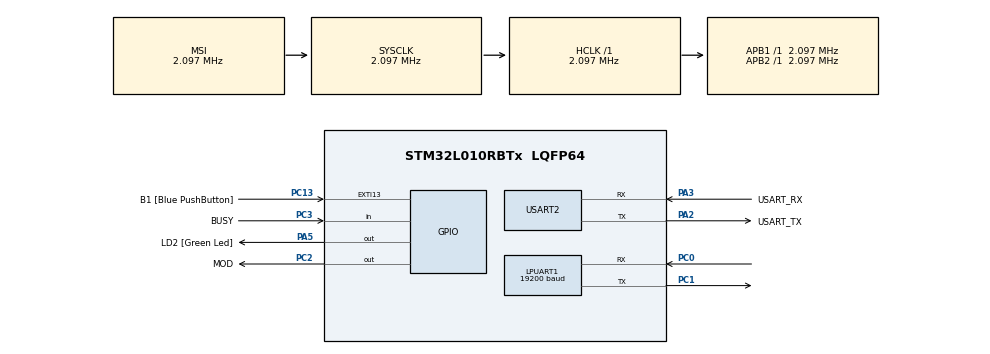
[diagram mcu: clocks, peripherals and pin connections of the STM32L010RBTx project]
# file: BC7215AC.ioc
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LPUART1.BaudRate=19200
LPUART1.StopBits=UART_STOPBITS_2
LPUART1.WordLength=UART_WORDLENGTH_8B
Mcu.Family=STM32L0
Mcu.Name=STM32L010RBTx
Mcu.Package=LQFP64
NVIC.LPUART1_IRQn=true\:0\:0\:false\:false\:true\:true\:true
NVIC.USART2_IRQn=true\:0\:0\:false\:false\:true\:true\:true
PA13.GPIO_Label=TMS
PA13.Mode=Serial_Wire
PA13.Signal=SYS_SWDIO
PA14.GPIO_Label=TCK
PA14.Mode=Serial_Wire
PA14.Signal=SYS_SWCLK
PA2.GPIO_Label=USART_TX
PA2.Mode=Asynchronous
PA2.Signal=USART2_TX
PA3.GPIO_Label=USART_RX
PA3.Mode=Asynchronous
PA3.Signal=USART2_RX
PA5.GPIO_Label=LD2 [Green Led]
PA5.Signal=GPIO_Output
PC0.GPIO_PuPd=GPIO_PULLUP
PC0.Mode=Asynchronous
PC0.Signal=LPUART1_RX
PC1.Mode=Asynchronous
PC1.Signal=LPUART1_TX
PC13.GPIO_Label=B1 [Blue PushButton]
PC13.GPIO_ModeDefaultEXTI=GPIO_MODE_IT_FALLING
PC13.Signal=GPXTI13
PC14-OSC32_IN.Mode=LSE-External-Oscillator
PC14-OSC32_IN.Signal=RCC_OSC32_IN
PC15-OSC32_OUT.Mode=LSE-External-Oscillator
PC15-OSC32_OUT.Signal=RCC_OSC32_OUT
PC2.GPIO_Label=MOD
PC2.Signal=GPIO_Output
PC3.GPIO_Label=BUSY
PC3.Signal=GPIO_Input
PH0-OSC_IN.GPIO_Label=MCO
PH0-OSC_IN.Mode=HSE-External-Clock-Source
PH0-OSC_IN.Signal=RCC_OSC_IN
ProjectManager.HeapSize=0x200
ProjectManager.StackSize=0x400
ProjectManager.TargetToolchain=STM32CubeIDE
RCC.AHBFreq_Value=2097000
RCC.APB1Freq_Value=2097000
RCC.APB1TimFreq_Value=2097000
RCC.APB2Freq_Value=2097000
RCC.APB2TimFreq_Value=2097000
RCC.HSE_VALUE=8000000
RCC.HSI16_VALUE=16000000
RCC.HSI48_VALUE=48000000
RCC.HSI_VALUE=16000000
RCC.MSI_VALUE=2097000
RCC.SYSCLKFreq_VALUE=2097000
RCC.VCOOutputFreq_Value=48000000
USART2.DMADisableonRxErrorParam=ADVFEATURE_DMA_DISABLEONRXERROR
USART2.VirtualMode-Asynchronous=VM_ASYNC
board=NUCLEO-L010RB

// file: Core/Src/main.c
/* USER CODE BEGIN Header */
/**
  ******************************************************************************
  * @file           : main.c
  * @brief          : Main program body
  ******************************************************************************
  * @attention
  *
  * Copyright (c) 2026 STMicroelectronics.
  * All rights reserved.
  *
  * This software is licensed under terms that can be found in the LICENSE file
  * in the root directory of this software component.
  * If no LICENSE file comes with this software, it is provided AS-IS.
  *
  ******************************************************************************
  */
/* USER CODE END Header */
#include "main.h"

/* USER CODE BEGIN Includes */
#include "app_main.h"
#include <stdio.h>

/* USER CODE END Includes */

UART_HandleTypeDef hlpuart1;
UART_HandleTypeDef huart2;

void SystemClock_Config(void);
static void MX_GPIO_Init(void);
static void MX_USART2_UART_Init(void);
static void MX_LPUART1_UART_Init(void);

int main(void)
{

  /* MCU Configuration--------------------------------------------------------*/

  /* Reset of all peripherals, Initializes the Flash interface and the Systick. */
  HAL_Init();

  /* Configure the system clock */
  SystemClock_Config();

  /* Initialize all configured peripherals */
  MX_GPIO_Init();
  MX_USART2_UART_Init();
  MX_LPUART1_UART_Init();
  /* USER CODE BEGIN 2 */
  //**************************************************************** 移植时请根据硬件环境修改此处设置
	appConfig.consolePort = &huart2;
	appConfig.bc7215Port = &hlpuart1;
	appConfig.modPort = GPIOC;
	appConfig.modPin = GPIO_PIN_2;
	appConfig.busyPort = GPIOC;
	appConfig.busyPin = GPIO_PIN_3;
  App_Init(&appConfig);
  /* USER CODE END 2 */

  /* Infinite loop */
  /* USER CODE BEGIN WHILE */
  while (1)
  {
	  App_Loop();					//***************************** 主程序调用入口
	  HAL_Delay(10);                //***************************** 每10ms轮检一次
  }
    /* USER CODE END WHILE */

}

void SystemClock_Config(void)
{
  RCC_OscInitTypeDef RCC_OscInitStruct = {0};
  RCC_ClkInitTypeDef RCC_ClkInitStruct = {0};
  RCC_PeriphCLKInitTypeDef PeriphClkInit = {0};

  /** Configure the main internal regulator output voltage
  */
  __HAL_PWR_VOLTAGESCALING_CONFIG(PWR_REGULATOR_VOLTAGE_SCALE1);
  /** Initializes the RCC Oscillators according to the specified parameters
  * in the RCC_OscInitTypeDef structure.
  */
  RCC_OscInitStruct.OscillatorType = RCC_OSCILLATORTYPE_MSI;
  RCC_OscInitStruct.MSIState = RCC_MSI_ON;
  RCC_OscInitStruct.MSICalibrationValue = 0;
  RCC_OscInitStruct.MSIClockRange = RCC_MSIRANGE_5;
  RCC_OscInitStruct.PLL.PLLState = RCC_PLL_NONE;
  if (HAL_RCC_OscConfig(&RCC_OscInitStruct) != HAL_OK)
  {
    Error_Handler();
  }
  /** Initializes the CPU, AHB and APB buses clocks
  */
  RCC_ClkInitStruct.ClockType = RCC_CLOCKTYPE_HCLK|RCC_CLOCKTYPE_SYSCLK
                              |RCC_CLOCKTYPE_PCLK1|RCC_CLOCKTYPE_PCLK2;
  RCC_ClkInitStruct.SYSCLKSource = RCC_SYSCLKSOURCE_MSI;
  RCC_ClkInitStruct.AHBCLKDivider = RCC_SYSCLK_DIV1;
  RCC_ClkInitStruct.APB1CLKDivider = RCC_HCLK_DIV1;
  RCC_ClkInitStruct.APB2CLKDivider = RCC_HCLK_DIV1;

  if (HAL_RCC_ClockConfig(&RCC_ClkInitStruct, FLASH_LATENCY_0) != HAL_OK)
  {
    Error_Handler();
  }
  PeriphClkInit.PeriphClockSelection = RCC_PERIPHCLK_USART2|RCC_PERIPHCLK_LPUART1;
  PeriphClkInit.Usart2ClockSelection = RCC_USART2CLKSOURCE_PCLK1;
  PeriphClkInit.Lpuart1ClockSelection = RCC_LPUART1CLKSOURCE_PCLK1;
  if (HAL_RCCEx_PeriphCLKConfig(&PeriphClkInit) != HAL_OK)
  {
    Error_Handler();
  }
}

static void MX_LPUART1_UART_Init(void)
{

  hlpuart1.Instance = LPUART1;
  hlpuart1.Init.BaudRate = 19200;
  hlpuart1.Init.WordLength = UART_WORDLENGTH_8B;
  hlpuart1.Init.StopBits = UART_STOPBITS_2;
  hlpuart1.Init.Parity = UART_PARITY_NONE;
  hlpuart1.Init.Mode = UART_MODE_TX_RX;
  hlpuart1.Init.HwFlowCtl = UART_HWCONTROL_NONE;
  hlpuart1.Init.OneBitSampling = UART_ONE_BIT_SAMPLE_DISABLE;
  hlpuart1.AdvancedInit.AdvFeatureInit = UART_ADVFEATURE_NO_INIT;
  if (HAL_UART_Init(&hlpuart1) != HAL_OK)
  {
    Error_Handler();
  }

}

static void MX_USART2_UART_Init(void)
{

  huart2.Instance = USART2;
  huart2.Init.BaudRate = 115200;
  huart2.Init.WordLength = UART_WORDLENGTH_8B;
  huart2.Init.StopBits = UART_STOPBITS_1;
  huart2.Init.Parity = UART_PARITY_NONE;
  huart2.Init.Mode = UART_MODE_TX_RX;
  huart2.Init.HwFlowCtl = UART_HWCONTROL_NONE;
  huart2.Init.OverSampling = UART_OVERSAMPLING_16;
  huart2.Init.OneBitSampling = UART_ONE_BIT_SAMPLE_DISABLE;
  huart2.AdvancedInit.AdvFeatureInit = UART_ADVFEATURE_DMADISABLEONERROR_INIT;
  huart2.AdvancedInit.DMADisableonRxError = UART_ADVFEATURE_DMA_DISABLEONRXERROR;
  if (HAL_UART_Init(&huart2) != HAL_OK)
  {
    Error_Handler();
  }

}

static void MX_GPIO_Init(void)
{
  GPIO_InitTypeDef GPIO_InitStruct = {0};

  /* GPIO Ports Clock Enable */
  __HAL_RCC_GPIOC_CLK_ENABLE();
  __HAL_RCC_GPIOH_CLK_ENABLE();
  __HAL_RCC_GPIOA_CLK_ENABLE();

  /*Configure GPIO pin Output Level */
  HAL_GPIO_WritePin(MOD_GPIO_Port, MOD_Pin, GPIO_PIN_RESET);

  /*Configure GPIO pin Output Level */
  HAL_GPIO_WritePin(LD2_GPIO_Port, LD2_Pin, GPIO_PIN_RESET);

  /*Configure GPIO pin : B1_Pin */
  GPIO_InitStruct.Pin = B1_Pin;
  GPIO_InitStruct.Mode = GPIO_MODE_IT_FALLING;
  GPIO_InitStruct.Pull = GPIO_NOPULL;
  HAL_GPIO_Init(B1_GPIO_Port, &GPIO_InitStruct);

  /*Configure GPIO pin : MOD_Pin */
  GPIO_InitStruct.Pin = MOD_Pin;
  GPIO_InitStruct.Mode = GPIO_MODE_OUTPUT_PP;
  GPIO_InitStruct.Pull = GPIO_NOPULL;
  GPIO_InitStruct.Speed = GPIO_SPEED_FREQ_LOW;
  HAL_GPIO_Init(MOD_GPIO_Port, &GPIO_InitStruct);

  /*Configure GPIO pin : BUSY_Pin */
  GPIO_InitStruct.Pin = BUSY_Pin;
  GPIO_InitStruct.Mode = GPIO_MODE_INPUT;
  GPIO_InitStruct.Pull = GPIO_NOPULL;
  HAL_GPIO_Init(BUSY_GPIO_Port, &GPIO_InitStruct);

  /*Configure GPIO pin : LD2_Pin */
  GPIO_InitStruct.Pin = LD2_Pin;
  GPIO_InitStruct.Mode = GPIO_MODE_OUTPUT_PP;
  GPIO_InitStruct.Pull = GPIO_NOPULL;
  GPIO_InitStruct.Speed = GPIO_SPEED_FREQ_LOW;
  HAL_GPIO_Init(LD2_GPIO_Port, &GPIO_InitStruct);

}

/* USER CODE BEGIN 4 */
// ********************************************************** 串口中断回调
void HAL_UART_RxCpltCallback(UART_HandleTypeDef *huart)
{
    // 判断是哪个串口触发了中断
    if (huart == appConfig.consolePort) {  // 如果是电脑连接串口(Console)
        // 调用环形缓冲区的 Push 函数，把数据存下来
        UartRing_Push();
    }
    else if (huart == appConfig.bc7215Port) {   //*************** !!! BC7215A连接串口，移植需手动修改
        BC7215_Glue_RxCallback();
    }
}

// **********************************************************--- 重定向 printf() 的 _write 函数 (GCC/STM32CubeIDE) ---
int _write(int file, char *ptr, int len)
{
    // 将数据通过 USART2 发送出去
    // 超时时间设为 1000ms，确保数据发完
    HAL_UART_Transmit(appConfig.consolePort, (uint8_t*)ptr, len, 1000);
    return len;
}

/* USER CODE END 4 */

void Error_Handler(void)
{
  __disable_irq();
  while (1)
  {
  }
}
